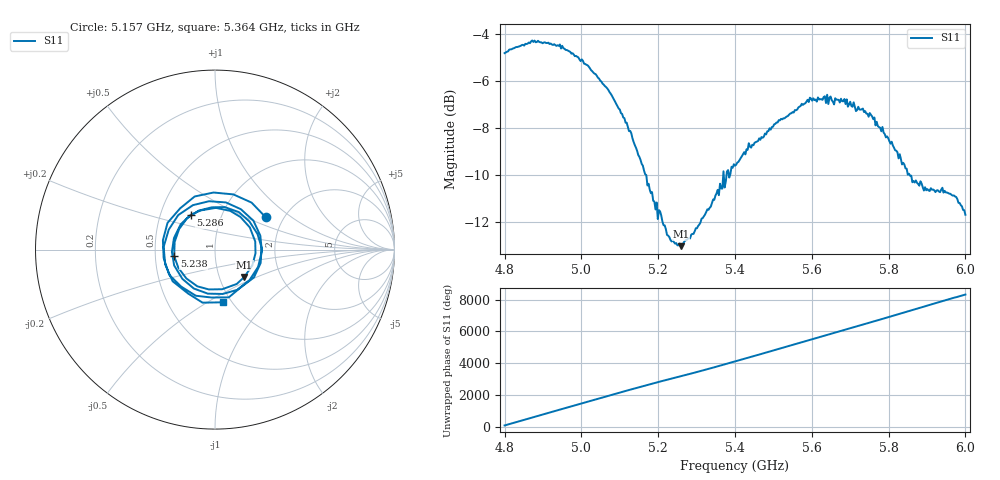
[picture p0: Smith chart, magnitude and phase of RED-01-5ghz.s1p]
! NanoVNA-App
! Date: 2026-05-22 18:31:45
! Start: 4.8GHz Stop: 6GHz Points: 401
! S-Parameter data: F S11
# Hz S RI R 50
!  Frequency  S11_Real  S11_Imag
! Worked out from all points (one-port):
!   401 points, 4.8 GHz to 6 GHz, reference 50 ohm
!   lowest |S11| = -13.0 dB at 5.259 GHz (marker M1), VSWR 1.58, Z = 65.7 - j21.1 ohm
!   |S11| at or under -10 dB: 5.169 GHz to 5.369 GHz (200.2 MHz wide, 3.8 % of centre); 5.370763 GHz to 5.377837 GHz (7.073 MHz wide, 0.132 % of centre); 5.856 GHz to end of sweep (the widest 3 of 4)
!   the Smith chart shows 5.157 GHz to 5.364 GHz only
!   S11 on the Smith chart (normalised r, x): 5.157 GHz: 1.62, +0.66; 5.238 GHz: 0.63, -0.05; 5.286 GHz: 0.71, +0.29; 5.364 GHz: 0.91, -0.59
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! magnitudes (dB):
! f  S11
! 4.8 GHz  -4.8
! 4.875 GHz  -4.3
! 4.95 GHz  -4.5
! 5.019 GHz  -5.4
! 5.07 GHz  -6.4
! 5.1 GHz  -7.2
! 5.124 GHz  -8.1
! 5.157 GHz  -9.5
! 5.193 GHz  -11.4
! 5.229 GHz  -12.6
! 5.238 GHz  -12.8
! 5.25 GHz  -13.0
! 5.259 GHz  -13.0
! 5.286 GHz  -12.5
! 5.364 GHz  -10.6
! 5.4 GHz  -9.6
! 5.436 GHz  -8.6
! 5.55 GHz  -7.3
! 5.601 GHz  -6.8
! 5.679 GHz  -6.8
! 5.7 GHz  -6.9
! 5.757 GHz  -7.5
! 5.814 GHz  -8.8
! 5.85 GHz  -10.0
! 5.868 GHz  -10.3
! 5.898 GHz  -10.6
! 5.97 GHz  -10.8
! 6 GHz  -11.7
